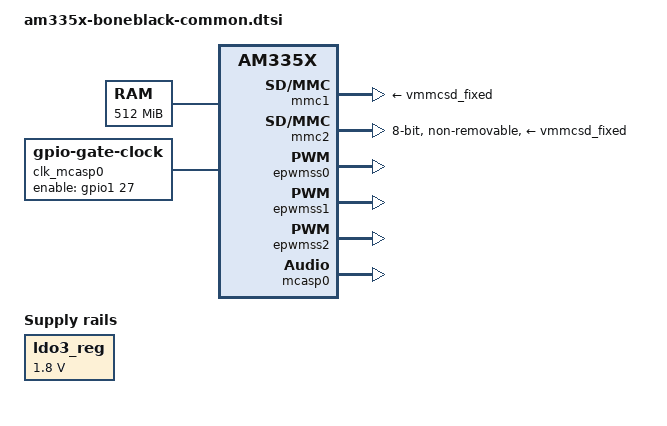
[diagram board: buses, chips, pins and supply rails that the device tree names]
// SPDX-License-Identifier: GPL-2.0-only
/*
 * Copyright (C) 2012 Texas Instruments Incorporated - https://www.ti.com/
 */

#include <dt-bindings/display/tda998x.h>
#include <dt-bindings/interrupt-controller/irq.h>

&ldo3_reg {
	regulator-min-microvolt = <1800000>;
	regulator-max-microvolt = <1800000>;
	regulator-always-on;
};

&mmc1 {
	vmmc-supply = <&vmmcsd_fixed>;
};

&mmc2 {
	vmmc-supply = <&vmmcsd_fixed>;
	pinctrl-names = "default";
	pinctrl-0 = <&emmc_pins>;
	bus-width = <8>;
	status = "okay";
	non-removable;
};

&am33xx_pinmux {
	mcasp0_pins: mcasp0_pins {
		pinctrl-single,pins = <
			AM33XX_PADCONF(AM335X_PIN_MCASP0_AHCLKX, PIN_INPUT_PULLUP, MUX_MODE0) /* mcasp0_ahcklx.mcasp0_ahclkx */
			AM33XX_PADCONF(AM335X_PIN_MCASP0_AHCLKR, PIN_OUTPUT_PULLDOWN, MUX_MODE2) /* mcasp0_ahclkr.mcasp0_axr2*/
			AM33XX_PADCONF(AM335X_PIN_MCASP0_FSX, PIN_OUTPUT_PULLUP, MUX_MODE0)
			AM33XX_PADCONF(AM335X_PIN_MCASP0_ACLKX, PIN_OUTPUT_PULLDOWN, MUX_MODE0)
			AM33XX_PADCONF(AM335X_PIN_GPMC_A11, PIN_OUTPUT_PULLDOWN, MUX_MODE7) /* gpmc_a11.GPIO1_27 */
		>;
	};
    
	ehrpwm0a_pins: pinmux_ehrpwm0a_pins {
		pinctrl-single,pins = <
			AM33XX_PADCONF(AM335X_PIN_SPI0_SCLK, PIN_OUTPUT, MUX_MODE3) /* UART2_RXD.ehrpwm0A */
		>;
	};

	ehrpwm0b_pins: pinmux_ehrpwm0b_pins {
		pinctrl-single,pins = <
			AM33XX_PADCONF(AM335X_PIN_SPI0_D0, PIN_OUTPUT, MUX_MODE3) /* UART2_TXD.ehrpwm0B */
		>;
	};

	ehrpwm1a_pins: pinmux_ehrpwm1a_pins {
		pinctrl-single,pins = <
			AM33XX_PADCONF(AM335X_PIN_LCD_DATA10, PIN_OUTPUT, MUX_MODE2) /* UART3_CTSN.ehrpwm1A */
		>;
	};

	ehrpwm1b_pins: pinmux_ehrpwm1b_pins {
		pinctrl-single,pins = <
			AM33XX_PADCONF(AM335X_PIN_LCD_DATA11, PIN_OUTPUT, MUX_MODE2) /* UART3_RTSN.ehrpwm1B */
		>;
	};

	ehrpwm2a_pins: pinmux_ehrpwm2a_pins {
		pinctrl-single,pins = <
			AM33XX_PADCONF(AM335X_PIN_LCD_DATA0, PIN_OUTPUT, MUX_MODE3) /* GPIO2_6.ehrpwm2A */
		>;
	};

	ehrpwm2b_pins: pinmux_ehrpwm2b_pins {
		pinctrl-single,pins = <
			AM33XX_PADCONF(AM335X_PIN_LCD_DATA1, PIN_OUTPUT, MUX_MODE3) /* GPIO2_7.ehrpwm2B */
		>;
	};
};

&rtc {
	system-power-controller;
};

&epwmss0 {
	status = "okay";

	ehrpwm0: ehrpwm@48300200 {
		status = "okay";
		pinctrl-names = "default";
		pinctrl-0 = <&ehrpwm0a_pins &ehrpwm0b_pins>;
	};
};

&epwmss1 {
	status = "okay";

	ehrpwm1: ehrpwm@48302200 {
		status = "okay";
		pinctrl-names = "default";
		pinctrl-0 = <&ehrpwm1a_pins &ehrpwm1b_pins>;
	};
};

&epwmss2 {
	status = "okay";

	ehrpwm2: ehrpwm@48304200 {
		status = "okay";
		pinctrl-names = "default";
		pinctrl-0 = <&ehrpwm2a_pins &ehrpwm2b_pins>;
	};
};

&mcasp0	{
	#sound-dai-cells = <0>;
	pinctrl-names = "default";
	pinctrl-0 = <&mcasp0_pins>;
	status = "okay";
	op-mode = <0>;	/* MCASP_IIS_MODE */
	tdm-slots = <2>;
	serial-dir = <	/* 0: INACTIVE, 1: TX, 2: RX */
			0 0 1 0
		>;
	tx-num-evt = <32>;
	rx-num-evt = <32>;
};

/ {
	memory@80000000 {
		device_type = "memory";
		reg = <0x80000000 0x20000000>; /* 512 MB */
	};

	clk_mcasp0_fixed: clk_mcasp0_fixed {
		#clock-cells = <0>;
		compatible = "fixed-clock";
		clock-frequency = <24576000>;
	};

	clk_mcasp0: clk_mcasp0 {
		#clock-cells = <0>;
		compatible = "gpio-gate-clock";
		clocks = <&clk_mcasp0_fixed>;
		enable-gpios = <&gpio1 27 0>; /* BeagleBone Black Clk enable on GPIO1_27 */
	};
};
